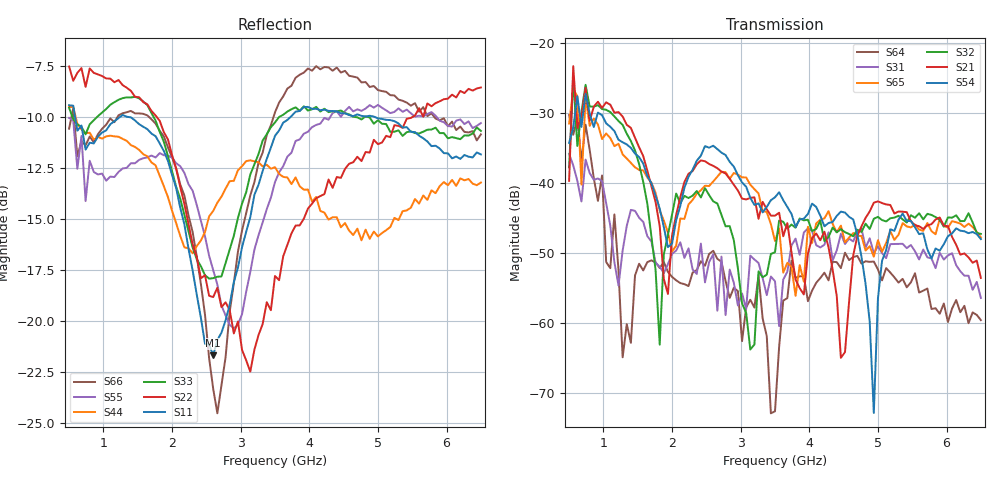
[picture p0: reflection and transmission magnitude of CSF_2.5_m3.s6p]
!Keysight Technologies,M9804A,MY58100912,A.14.10.03
!Date: Thursday, April 27, 2023 10:28:33
!Correction: S11(C  6-Port  )
!S12(C  6-Port  )
!S13(C  6-Port  )
!S14(C  6-Port  )
!S15(C  6-Port  )
!S16(C  6-Port  )
!S21(C  6-Port  )
!S22(C  6-Port  )
!S23(C  6-Port  )
!S24(C  6-Port  )
!S25(C  6-Port  )
!S26(C  6-Port  )
!S31(C  6-Port  )
!S32(C  6-Port  )
!S33(C  6-Port  )
!S34(C  6-Port  )
!S35(C  6-Port  )
!S36(C  6-Port  )
!S41(C  6-Port  )
!S42(C  6-Port  )
!S43(C  6-Port  )
!S44(C  6-Port  )
!S45(C  6-Port  )
!S46(C  6-Port  )
!S51(C  6-Port  )
!S52(C  6-Port  )
!S53(C  6-Port  )
!S54(C  6-Port  )
!S55(C  6-Port  )
!S56(C  6-Port  )
!S61(C  6-Port  )
!S62(C  6-Port  )
!S63(C  6-Port  )
!S64(C  6-Port  )
!S65(C  6-Port  )
!S66(C  6-Port  )
!S6P File: Measurement: :
# Hz S  RI  R 50
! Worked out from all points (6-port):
!   101 points, 500 MHz to 6.5 GHz, reference 50 ohm
!   strongest paths, dB at 500 MHz, 2 GHz, 3.5 GHz, 5 GHz, 6.5 GHz:
!     S54: -34.2, -48.6, -42.0, -56.4, -48.0
!     S21: -39.6, -47.4, -44.6, -42.6, -53.5
!     S32: -37.7, -44.5, -49.8, -44.8, -47.2
!     S65: -31.5, -49.7, -48.3, -48.1, -47.7
!     S31: -35.8, -50.1, -54.0, -49.0, -56.4
!     S64: -30.2, -53.4, -72.6, -52.3, -59.6
!   lowest |S11| = -21.7 dB at 2.6 GHz (marker M1), VSWR 1.18, Z = 42.6 + j2.04 ohm
!   |S11| at or under -10 dB: 588.2 MHz to 1.232 GHz (644.3 MHz wide, 70.8 % of centre); 1.402 GHz to 3.719 GHz (2.317 GHz wide, 90.5 % of centre); 4.97 GHz to end of sweep
